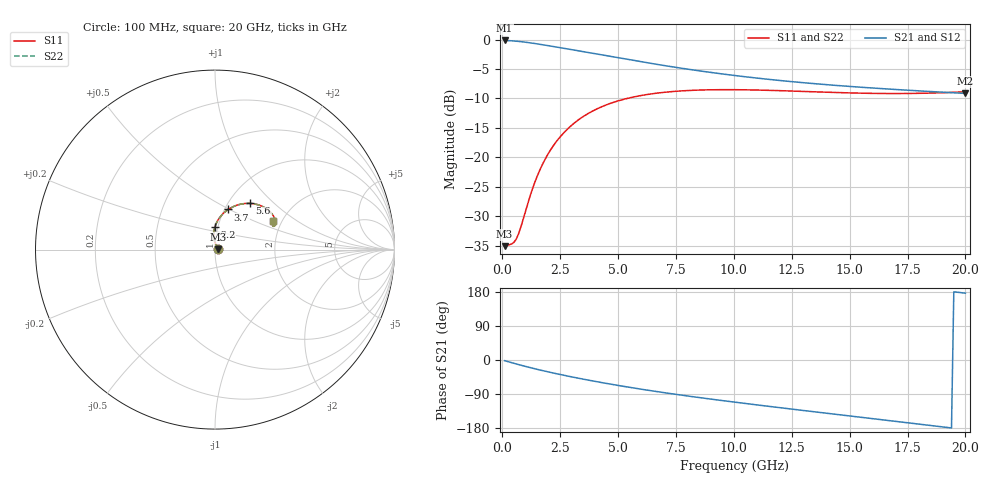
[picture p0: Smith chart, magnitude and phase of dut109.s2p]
! Touchstone file exported from HFSS 2023.1.0
!  File:  D:/Users/fzz/RDL_TSV/temp_RDL_TSV_109_1778749618.aedt
!  Generated:  5:17:31 %x4E0B%x5348  5%x6708 14, 2026
!  Design:  RDL_TSV
!  Project:  temp_RDL_TSV_109_1778749618
!  Setup:  Setup1
!  Solution:  Sweep
! Variables:
!  dtsv = 14.4um
!  hbump = 3um
!  htsv = 58.06um
!  ldown = 234.8um
!  lrdl = 476.21um
!  p = 40
!  p1 = 57.74um
!  rhole = 10um
!  subl = 2609.24um
!  t = 450um
!  tdown = 2.51um
!  trdl = 4.32um
!  viad = 10um
!  wdown = 11.47um
!  wrdl = 17.35um
!  xbump = 18um
# GHz S MA R 50.000000
! Terminal data exported
! Port[1] = TM1_1_T1
! Port[2] = TM1_4_T1
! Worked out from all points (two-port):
!   200 points, 100 MHz to 20 GHz, reference 50 ohm
!   highest |S21| = -0.16 dB at 100 MHz (marker M1); lowest = -9.1 dB at 20 GHz (marker M2)
!   |S21| within 3 dB of the highest: start of sweep to 5.09 GHz
!   lowest |S11| = -35.1 dB at 100 MHz (marker M3), VSWR 1.04, Z = 51.8 + j0.277 ohm
!   |S11| at or under -10 dB: start of sweep to 5.386 GHz
!   |S22| runs from -35.1 to -8.5 dB; largest |S21 - S12| = 9e-15
!   S11 on the Smith chart (normalised r, x): 100 MHz: 1.04, +0.01; 2.2 GHz: 0.97, +0.25; 3.7 GHz: 1.04, +0.49; 5.6 GHz: 1.26, +0.72; 20 GHz: 1.81, +0.65
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0.1  0.01767 8.7  0.9819 -1.8  0.9819 -1.8  0.01767 8.7
! Gamma 0 0 0 0
! Port Impedance 50 0 50 0
0.4  0.01843 34.4  0.9755 -7.0  0.9755 -7.0  0.01844 34.4
0.6  0.02025 55.2  0.9684 -10.4  0.9684 -10.4  0.02025 55.2
0.8  0.02561 74.4  0.9595 -13.7  0.9595 -13.7  0.02562 74.4
1.2  0.04705 92.8  0.9376 -20.1  0.9376 -20.1  0.04705 92.8
1.5  0.06869 95.4  0.9189 -24.6  0.9189 -24.6  0.06868 95.4
1.8  0.0925 94.3  0.8993 -28.9  0.8993 -28.9  0.09247 94.2
2.2  0.1253 90.4  0.8728 -34.4  0.8728 -34.4  0.1252 90.3
2.8  0.1729 82.9  0.8334 -42.1  0.8334 -42.1  0.1728 82.9
3.5  0.2226 74.2  0.7887 -50.6  0.7887 -50.6  0.2224 74.1
3.7  0.2353 71.8  0.7763 -52.9  0.7763 -52.9  0.2352 71.8
4.6  0.2842 62.0  0.7227 -62.9  0.7227 -62.9  0.284 61.9
5.6  0.3234 52.8  0.6679 -73.2  0.6679 -73.2  0.3231 52.7
6.8  0.3533 43.8  0.61 -84.5  0.61 -84.5  0.3529 43.8
8.4  0.3721 34.8  0.5462 -98.3  0.5462 -98.3  0.3716 34.7
10.1  0.3753 28.2  0.4934 -111.7  0.4934 -111.7  0.3749 28.1
11.7  0.3699 24.2  0.4551 -123.7  0.4551 -123.7  0.3694 24.1
13.4  0.3606 22.0  0.4235 -136.1  0.4235 -136.1  0.3601 22.0
15  0.3525 21.6  0.4001 -147.6  0.4001 -147.6  0.352 21.6
16.7  0.3483 22.6  0.3799 -159.8  0.3799 -159.8  0.3478 22.5
18.3  0.3505 24.2  0.3639 -171.4  0.3639 -171.4  0.35 24.2
20  0.3604 26.0  0.349 176.3  0.349 176.3  0.3599 25.9
